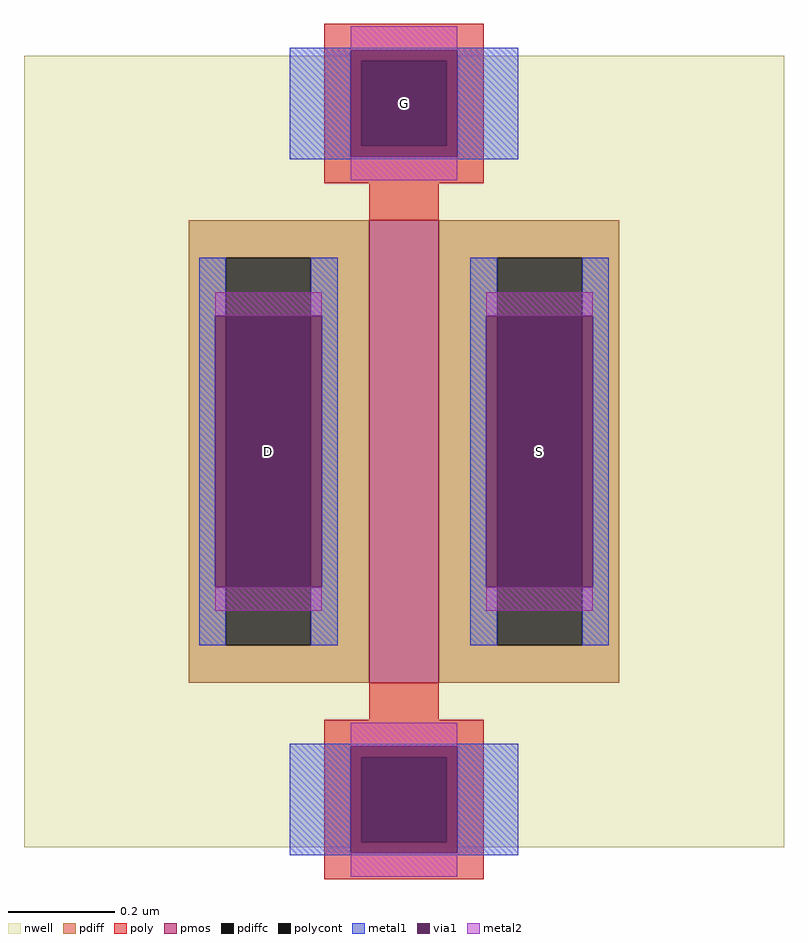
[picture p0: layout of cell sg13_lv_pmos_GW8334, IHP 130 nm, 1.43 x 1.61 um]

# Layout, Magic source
magic
tech ihp-sg13cmos5l
magscale 1 2
<< nwell >>
rect -143 -149 143 149
<< pmos >>
rect -13 -87 13 87
<< pdiff >>
rect -81 73 -13 87
rect -81 -73 -67 73
rect -35 -73 -13 73
rect -81 -87 -13 -73
rect 13 73 81 87
rect 13 -73 35 73
rect 67 -73 81 73
rect 13 -87 81 -73
<< pdiffc >>
rect -67 -73 -35 73
rect 35 -73 67 73
<< poly >>
rect -30 147 30 161
rect -30 115 -16 147
rect 16 115 30 147
rect -30 101 30 115
rect -13 87 13 101
rect -13 -101 13 -87
rect -30 -115 30 -101
rect -30 -147 -16 -115
rect 16 -147 30 -115
rect -30 -161 30 -147
<< polycont >>
rect -16 115 16 147
rect -16 -147 16 -115
<< metal1 >>
rect -43 151 43 152
rect -43 111 -20 151
rect 20 111 43 151
rect -43 110 43 111
rect -77 51 -67 73
rect -35 51 -25 73
rect -77 -51 -71 51
rect -31 -51 -25 51
rect -77 -73 -67 -51
rect -35 -73 -25 -51
rect 25 51 35 73
rect 67 51 77 73
rect 25 -51 31 51
rect 71 -51 77 51
rect 25 -73 35 -51
rect 67 -73 77 -51
rect -43 -111 43 -110
rect -43 -151 -20 -111
rect 20 -151 43 -111
rect -43 -152 43 -151
<< via1 >>
rect -20 147 20 151
rect -20 115 -16 147
rect -16 115 16 147
rect 16 115 20 147
rect -20 111 20 115
rect -71 -51 -67 51
rect -67 -51 -35 51
rect -35 -51 -31 51
rect 31 -51 35 51
rect 35 -51 67 51
rect 67 -51 71 51
rect -20 -115 20 -111
rect -20 -147 -16 -115
rect -16 -147 16 -115
rect 16 -147 20 -115
rect -20 -151 20 -147
<< metal2 >>
rect -20 151 20 160
rect -20 102 20 111
rect -71 51 -31 60
rect -71 -60 -31 -51
rect 31 51 71 60
rect 31 -60 71 -51
rect -20 -111 20 -102
rect -20 -160 20 -151
<< labels >>
rlabel pdiffc -51 0 -51 0 0 D
port 4 nsew
rlabel pdiffc 51 0 51 0 0 S
port 5 nsew
rlabel polycont 0 131 0 131 0 G
port 6 nsew
<< properties >>
string gencell sg13_lv_pmos
string library sg13cmos5l
string parameters w 0.87 l 0.13 m 1 ng 1 diffcov 100 polycov 100 guard 0 glc 1 grc 1 gtc 1 gbc 1 tbcov 100 rlcov 100 topc 1 botc 1 poverlap 0 doverlap 1 lmin 0.13 wmin 0.15 class mosfet compatible {sg13_lv_pmos sg13_hv_pmos} full_metal 1 conn_gates 0 gate_ring 0 ccols 1 viasrc 100 viadrn 100 viagate 100 viagb 0 viagr 0 viagl 0 viagt 0 doports 1
<< end >>
